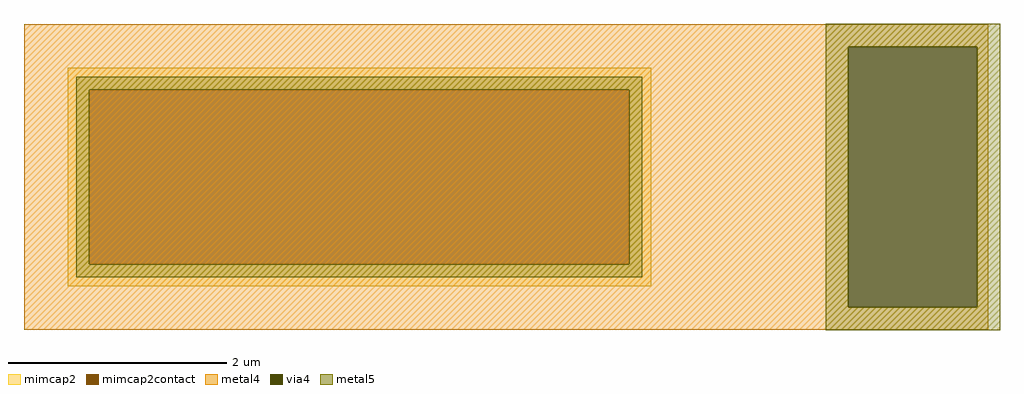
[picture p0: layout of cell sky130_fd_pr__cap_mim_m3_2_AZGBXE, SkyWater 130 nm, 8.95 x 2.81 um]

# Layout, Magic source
magic
tech sky130A
magscale 1 2
<< metal4 >>
rect -884 239 884 280
rect -884 -239 628 239
rect 864 -239 884 239
rect -884 -280 884 -239
<< via4 >>
rect 628 -239 864 239
<< mimcap2 >>
rect -804 160 266 200
rect -804 -160 -764 160
rect 226 -160 266 160
rect -804 -200 266 -160
<< mimcap2contact >>
rect -764 -160 226 160
<< metal5 >>
rect 586 239 906 281
rect -788 160 250 184
rect -788 -160 -764 160
rect 226 -160 250 160
rect -788 -184 250 -160
rect 586 -239 628 239
rect 864 -239 906 239
rect 586 -281 906 -239
<< properties >>
string FIXED_BBOX -884 -280 346 280
string gencell sky130_fd_pr__cap_mim_m3_2
string library sky130
string parameters w 5.35 l 2.0 val 24.192 carea 2.00 cperi 0.19 class capacitor nx 1 ny 1 dummy 0 square 0 lmin 2.00 wmin 2.00 lmax 30.0 wmax 30.0 dc 0 bconnect 1 tconnect 1 ccov 100
<< end >>
